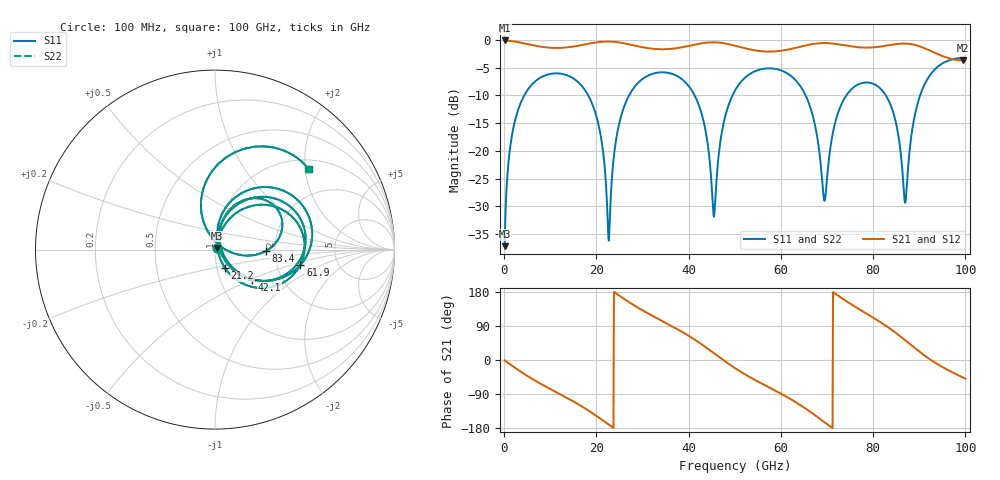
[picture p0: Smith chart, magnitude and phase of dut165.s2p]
! Touchstone file exported from HFSS 2026.1.0
!  File:  C:/ffzhzh/LocalFiles/Ansys_Project_Files/temp_train_TSV_RDL_165_1783649500_26216.aedt
!  Generated:  10:19:53 AM Jul 10, 2026
!  Design:  TSV_RDL
!  Project:  temp_train_TSV_RDL_165_1783649500_26216
! Variables:
!  h_bsmrdl = 3.93um
!  h_ox = 20um
!  h_rdl = 5um
!  h_sub = 66.49um
!  h_tmrdl = 3.01um
!  h_tsv = 66.49um
!  h_via = 3um
!  l_bsmrdl = 453.97um
!  l_sub = 2496.77um
!  l_tmrdl = 151.9um
!  m_sub = 200um
!  pitch = 59.71um
!  r_tsv = 14.83um
!  s_tmrdl = 10um
!  w_bsmrdl = 28.18um
!  w_sub = 500um
!  w_tmrdl = 14.24um
!  x_tsv_center1 = 159.02um
!  x_tsv_center2 = 641.17um
!  x_tsv_center3 = 807.31um
!  x_tsv_center4 = 1289.46um
!  x_tsv_center5 = 1455.6um
!  x_tsv_center6 = 1937.75um
# GHz S MA R 50.000000
! Terminal data exported
! Port[1] = TM_RDL1_1_T1
! Port[2] = TM_RDL5_1_T1
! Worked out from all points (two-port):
!   1000 points, 100 MHz to 100 GHz, reference 50 ohm
!   highest |S21| = -0.09 dB at 100 MHz (marker M1); lowest = -3.7 dB at 99.5 GHz (marker M2)
!   |S21| within 3 dB of the highest: start of sweep to 95.65 GHz
!   lowest |S11| = -37.2 dB at 100 MHz (marker M3), VSWR 1.03, Z = 51.1 + j0.901 ohm
!   |S11| at or under -10 dB: 18.23 GHz to 27.09 GHz (8.857 GHz wide, 39.1 % of centre); 41.3 GHz to 49.5 GHz (8.204 GHz wide, 18.1 % of centre); 65.35 GHz to 74.18 GHz (8.823 GHz wide, 12.6 % of centre) (the widest 3 of 5)
!   |S22| runs from -37.2 to -3.2 dB; largest |S21 - S12| = 1.7e-14
!   S11 on the Smith chart (normalised r, x): 100 MHz: 1.02, +0.02; 21.2 GHz: 1.09, -0.23; 42.1 GHz: 1.41, -0.51; 61.9 GHz: 2.72, -0.61; 83.4 GHz: 1.79, -0.04; 100 GHz: 1.23, +2.09
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0.1  0.01387 39.5  0.9894 -0.9  0.9894 -0.9  0.01387 39.5
! Gamma 0 0 0 0
! Port Impedance 50 0 50 0
1.6  0.1308 69.8  0.9775 -14.1  0.9775 -14.1  0.1308 69.8
4.4  0.3188 49.8  0.931 -37.2  0.931 -37.2  0.3188 49.8
10.8  0.4992 6.9  0.8476 -81.6  0.8476 -81.6  0.4992 6.9
16.8  0.3867 -32.1  0.8996 -122.1  0.8996 -122.1  0.3868 -32.0
21.2  0.1172 -61.5  0.9632 -157.5  0.9632 -157.5  0.1173 -61.5
22.7  0.01555 15.3  0.9676 -170.6  0.9676 -170.6  0.0157 15.0
25.9  0.2431 67.7  0.9345 162.1  0.9345 162.1  0.2431 67.7
33.4  0.5086 17.6  0.8258 108.6  0.8258 108.6  0.5087 17.5
42.1  0.2658 -38.9  0.9215 47.3  0.9215 47.3  0.2659 -39.1
45.5  0.02555 21.6  0.952 17.7  0.952 17.7  0.0243 21.4
47.4  0.1636 81.2  0.9373 0.7  0.9373 0.7  0.1632 81.7
50.1  0.3532 64.1  0.8864 -21.9  0.8864 -21.9  0.3529 64.3
61.9  0.4839 -10.2  0.8251 -101.7  0.8251 -101.7  0.4836 -10.1
66.7  0.2232 -41.7  0.9161 -139.6  0.9161 -139.6  0.2229 -41.8
69.5  0.03562 21.0  0.9373 -164.6  0.9373 -164.6  0.03483 21.5
74.3  0.3217 59.3  0.8866 154.3  0.8866 154.3  0.3216 59.6
83.4  0.2822 -1.9  0.8966 85.0  0.8966 85.0  0.2822 -1.6
87  0.03442 58.9  0.9276 51.7  0.9276 51.7  0.03523 59.0
90.9  0.3771 97.9  0.8499 13.9  0.8499 13.9  0.3772 98.0
99.5  0.6885 43.2  0.6542 -46.4  0.6542 -46.4  0.6888 43.5
100  0.6876 40.5  0.6551 -49.4  0.6551 -49.4  0.6878 40.8
